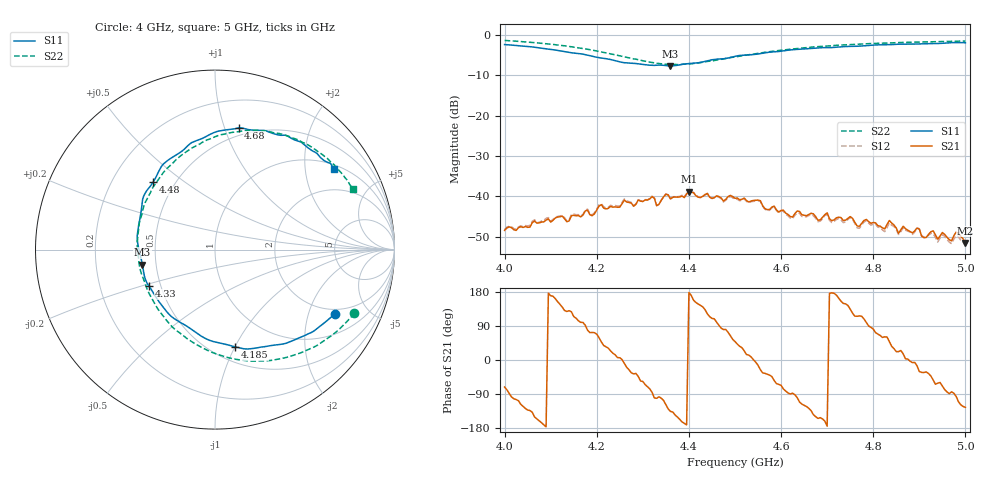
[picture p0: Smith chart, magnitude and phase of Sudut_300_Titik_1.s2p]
# Hz S RI R 50
! CMT, C1220, 16058040, 17.2.0/1
! Date: 15/08/2018 11:36:24
! Data: Format (Calibration Info)
! Freq  S11: Re/Im (F2)  S21: Re/Im (F2)  S12: Re/Im (F2)  S22: Re/Im (F2)
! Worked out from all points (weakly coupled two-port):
!   201 points, 4 GHz to 5 GHz, reference 50 ohm
!   highest |S21| = -38.87 dB at 4.4 GHz (marker M1); lowest = -51.5 dB at 5 GHz (marker M2)
!   lowest |S11| = -7.7 dB at 4.36 GHz (marker M3), VSWR 2.41, Z = 21 - j4.21 ohm
!   |S11| at or under -10 dB: nowhere
!   |S22| runs from -7.4 to -1.4 dB; largest |S21 - S12| = 0.00041
!   S11 on the Smith chart (normalised r, x): 4 GHz: 1.80, -3.01; 4.185 GHz: 0.64, -1.00; 4.33 GHz: 0.43, -0.21; 4.48 GHz: 0.38, +0.38; 4.68 GHz: 0.43, +1.12; 5 GHz: 1.14, +2.84
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4e9  0.6691 -0.3564  0.00122 -0.0036  0.0014 -0.00363  0.7759 -0.3527
4.17e9  0.1632 -0.553  -0.000927 0.00578  -0.00107 0.00589  0.2743 -0.6198
4.185e9  0.1107 -0.5416  0.00181 0.00566  0.00174 0.00589  0.21 -0.6214
4.26e9  -0.1701 -0.4187  0.00888 -0.00147  0.00918 -0.00156  -0.1155 -0.5221
4.28e9  -0.2447 -0.3713  0.00607 -0.0045  0.00605 -0.00465  -0.1957 -0.4647
4.32e9  -0.3473 -0.2356  0.000803 -0.0099  0.000739 -0.01  -0.3297 -0.3121
4.33e9  -0.3692 -0.2022  -0.00147 -0.00753  -0.00151 -0.00754  -0.3535 -0.2704
4.335e9  -0.3798 -0.1848  -0.000983 -0.00792  -0.00106 -0.00793  -0.3658 -0.2472
4.36e9  -0.4043 -0.0833  -0.00666 -0.0065  -0.00672 -0.00655  -0.4121 -0.1279
4.4e9  -0.4327 0.0834  -0.0114 0.000393  -0.0115 0.000633  -0.43 0.0747
4.48e9  -0.3454 0.3755  0.00149 0.00907  0.0017 0.00884  -0.3009 0.4118
4.5e9  -0.3077 0.4468  0.00625 0.00711  0.00613 0.00687  -0.2454 0.4726
4.67e9  0.1121 0.6735  -0.00493 -0.00358  -0.00472 -0.00332  0.2455 0.6637
4.68e9  0.131 0.6778  -0.00456 -0.00222  -0.0044 -0.0021  0.2705 0.661
4.75e9  0.287 0.6604  -0.00393 0.00402  -0.00389 0.00389  0.4317 0.6223
4.825e9  0.4248 0.6203  0.00191 0.00347  0.00182 0.00319  0.567 0.5512
4.835e9  0.4437 0.611  0.00333 0.00376  0.00305 0.00359  0.5816 0.5407
4.855e9  0.4759 0.6004  0.00324 0.00132  0.00311 0.00132  0.6117 0.5183
4.895e9  0.5335 0.5562  0.00391 -0.00107  0.00392 -0.000963  0.664 0.4723
4.97e9  0.6388 0.4824  0.000293 -0.0028  0.000253 -0.00259  0.7416 0.3794
4.98e9  0.6456 0.4769  -0.000391 -0.0036  -0.000399 -0.00326  0.7491 0.365
5e9  0.6609 0.4498  -0.00152 -0.00217  -0.00125 -0.00207  0.7673 0.3385
